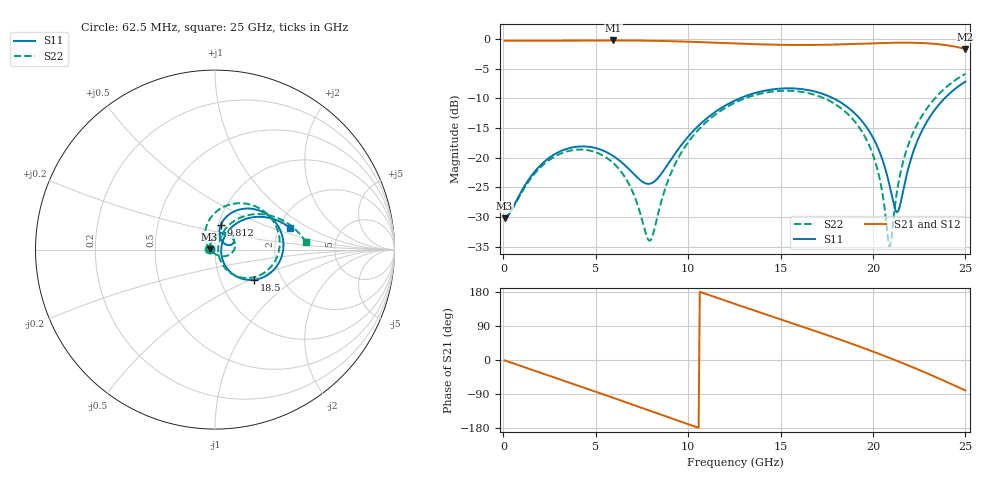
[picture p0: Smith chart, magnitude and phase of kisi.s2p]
! BV_ts_refinout2_q050f25s_e35: /TS-PCIe Components/REFINOUT2 via F.Cu→B.Cu at (204.176, 89.904)
! stackup: Thunderscope_Rev5.3 from the board file and its kisi.json
! ports: 1 in, 2 out
! kisi-fdtd, conformal, dfine 0.05 mm, 609756 cells
# Hz S RI R 50
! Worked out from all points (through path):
!   400 points, 62.5 MHz to 25 GHz, reference 50 ohm
!   highest |S21| = -0.27 dB at 5.938 GHz (marker M1); lowest = -1.7 dB at 25 GHz (marker M2)
!   group delay of S21, straight-line fit = 47.8 ps
!   lowest |S11| = -30.2 dB at 62.5 MHz (marker M3), VSWR 1.06, Z = 47 + j0.309 ohm
!   |S11| at or under -10 dB: start of sweep to 12.81 GHz; 17.84 GHz to 23.88 GHz (6.046 GHz wide, 29 % of centre)
!   |S22| runs from -34.9 to -5.9 dB; largest |S21 - S12| = 5.1e-07
!   S11 on the Smith chart (normalised r, x): 62.5 MHz: 0.94, +0.01; 9.812 GHz: 1.03, +0.28; 18.5 GHz: 1.44, -0.52; 25 GHz: 2.31, +0.68
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6.25e7  -0.0306 0.00329  0.9634 -0.0176  0.9634 -0.0176  -0.0308 0.00326
2.125e9  0.0223 0.0869  0.7844 -0.5594  0.7844 -0.5594  0.0293 0.0809
4.25e9  0.0991 0.0747  0.3134 -0.9148  0.3134 -0.9148  0.1088 0.0421
5.9375e9  0.0979 0.0322  -0.1641 -0.9553  -0.1641 -0.9553  0.0867 -0.0244
6.9375e9  0.0714 0.0252  -0.4378 -0.8634  -0.4378 -0.8634  0.0389 -0.037
7.875e9  0.0432 0.0417  -0.6577 -0.7051  -0.6577 -0.7051  -0.011 -0.0167
8.375e9  0.0317 0.0597  -0.7533 -0.5969  -0.7533 -0.5969  -0.0331 0.00715
9e9  0.0246 0.0894  -0.847 -0.4438  -0.847 -0.4438  -0.0512 0.0473
9.8125e9  0.0319 0.135  -0.9211 -0.2252  -0.9211 -0.2252  -0.0531 0.1103
1.1125e10  0.0889 0.2028  -0.9222 0.1389  -0.9222 0.1389  0.00382 0.2086
1.25625e10  0.2009 0.228  -0.7695 0.4933  -0.7695 0.4933  0.1342 0.2587
1.46875e10  0.3574 0.1207  -0.3392 0.8255  -0.3392 0.8255  0.3271 0.1542
1.66875e10  0.3583 -0.0697  0.161 0.8733  0.161 0.8733  0.3383 -0.0562
1.85e10  0.217 -0.1682  0.5908 0.6795  0.5908 0.6795  0.185 -0.1581
2.00625e10  0.0777 -0.1175  0.8561 0.3313  0.8561 0.3313  0.0446 -0.0878
2.05e10  0.0525 -0.0816  0.8986 0.208  0.8986 0.208  0.0244 -0.0448
2.0875e10  0.0391 -0.0456  0.9205 0.0956  0.9205 0.0956  0.0176 -0.00318
2.09375e10  0.0377 -0.0393  0.9227 0.0765  0.9227 0.0765  0.0175 0.00402
2.13125e10  0.0346 0.000149  0.927 -0.0406  0.927 -0.0406  0.0237 0.0478
2.21875e10  0.0652 0.092  0.8715 -0.3157  0.8715 -0.3157  0.0831 0.1413
2.375e10  0.2386 0.1827  0.541 -0.7113  0.541 -0.7113  0.3135 0.1882
2.5e10  0.4202 0.1184  0.1376 -0.8095  0.1376 -0.8095  0.5057 0.0419
